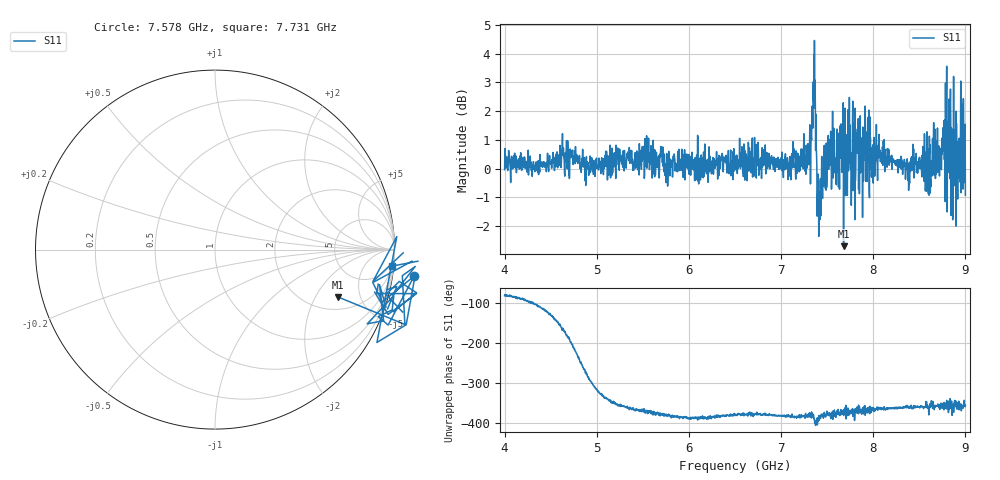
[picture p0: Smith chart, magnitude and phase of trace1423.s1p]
! Created with skrf 1.8.0 (http://scikit-rf.org).
# Hz S RI R 50.0
!freq ReS11 ImS11
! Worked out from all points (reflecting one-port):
!   1601 points, 4 GHz to 9 GHz, reference 50 ohm
!   lowest |S11| = -2.7 dB at 7.678 GHz (marker M1), VSWR 6.49, Z = 137 - j156 ohm
!   phase of S11 starts at -82 deg and turns -274 deg over the sweep
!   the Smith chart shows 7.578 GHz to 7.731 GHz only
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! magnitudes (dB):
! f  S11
! 4 GHz  0.0
! 4.625 GHz  0.9
! 4.897 GHz  0.2
! 5.25 GHz  0.7
! 5.875 GHz  -0.1
! 6.5 GHz  0.2
! 7.125 GHz  0.3
! 7.297 GHz  0.6
! 7.353 GHz  2.3
! 7.412 GHz  -0.9
! 7.516 GHz  0.0
! 7.609 GHz  0.1
! 7.65 GHz  1.6
! 7.678 GHz  -2.7
! 7.75 GHz  1.5
! 7.788 GHz  -0.4
! 7.928 GHz  1.2
! 7.981 GHz  -0.3
! 8.134 GHz  0.3
! 8.375 GHz  0.1
! 8.538 GHz  0.1
! 8.612 GHz  0.5
! 8.656 GHz  1.6
! 8.725 GHz  0.6
! 8.816 GHz  -0.1
! 8.869 GHz  0.1
! 8.972 GHz  0.4
! 9 GHz  -0.9
